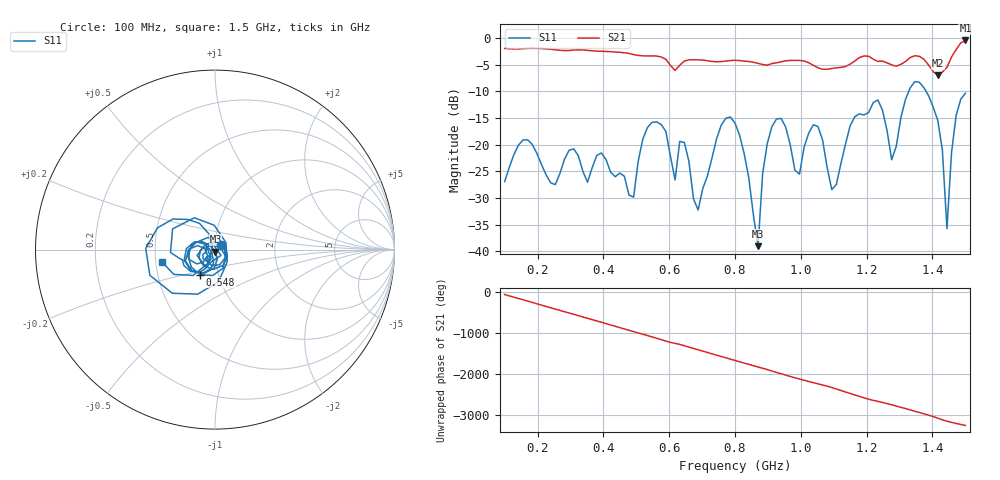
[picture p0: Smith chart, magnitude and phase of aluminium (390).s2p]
! NanoVNA-App
! Date: 2025-09-25 14:58:19
! Start: 100MHz Stop: 1,5GHz Points: 101
! S-Parameter data: F S11 S21 S12 S22
# Hz S RI R 50
!  Frequency  S11_Real  S11_Imag  S21_Real  S21_Imag  S12_Real  S12_Imag  S22_Real  S22_Imag
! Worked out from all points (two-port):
!   101 points, 100 MHz to 1.5 GHz, reference 50 ohm
!   highest |S21| = -0.43 dB at 1.5 GHz (marker M1); lowest = -7.0 dB at 1.416 GHz (marker M2)
!   |S21| within 3 dB of the highest: start of sweep to 567.8 MHz; 1.459 GHz to end of sweep (the widest 2 of 4)
!   lowest |S11| = -39.1 dB at 870 MHz (marker M3), VSWR 1.02, Z = 50.3 - j1.09 ohm
!   |S11| at or under -10 dB: start of sweep to 1.328 GHz; 1.381 GHz to end of sweep
!   S12 and S22 are empty: the file has one direction only
!   S11 on the Smith chart (normalised r, x): 100 MHz: 1.07, +0.06; 548 MHz: 0.82, -0.23; 1.5 GHz: 0.54, -0.08
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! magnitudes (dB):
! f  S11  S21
! 100 MHz  -26.9  -1.9
! 156 MHz  -19.1  -2.0
! 338 MHz  -25.0  -2.2
! 492 MHz  -29.8  -3.1
! 548 MHz  -15.8  -3.3
! 576 MHz  -16.2  -3.5
! 618 MHz  -26.6  -6.1
! 646 MHz  -19.6  -4.3
! 688 MHz  -32.3  -4.1
! 800 MHz  -15.9  -4.1
! 870 MHz  -39.1  -4.7
! 912 MHz  -16.6  -4.8
! 996 MHz  -25.5  -4.2
! 1.038 GHz  -16.3  -5.1
! 1.094 GHz  -28.4  -5.7
! 1.234 GHz  -11.6  -4.4
! 1.276 GHz  -22.8  -5.0
! 1.346 GHz  -8.2  -3.3
! 1.416 GHz  -15.4  -7.0
! 1.444 GHz  -35.8  -5.5
! 1.472 GHz  -14.5  -2.1
! 1.5 GHz  -10.3  -0.4
